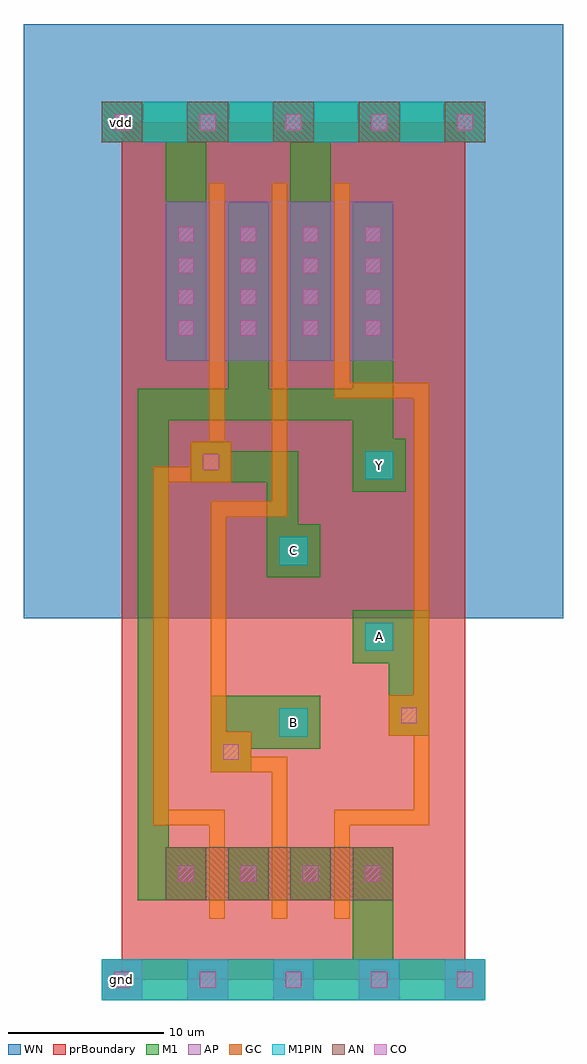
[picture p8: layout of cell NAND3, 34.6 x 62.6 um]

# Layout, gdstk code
import gdstk
lib = gdstk.Library(unit=1e-6, precision=1e-09)
def R(c, l, rs):  # rectangles x0, y0, x1, y1
    for r in rs: c.add(gdstk.rectangle(r[:2], r[2:], *l))
def A(c, l, x, y, w, h, nx, ny, dx, dy):  # array of equal rectangles
    R(c, l, [(x+i*dx, y+j*dy, x+i*dx+w, y+j*dy+h) for i in range(nx) for j in range(ny)])
def P(c, l, *ps):  # polygons
    for p in ps: c.add(gdstk.Polygon(p, *l))
AP = (3, 1)
AN = (3, 2)
GC = (8, 1)
CO = (11, 0)
M1 = (13, 0)
M1PIN = (48, 1)
WN = (140, 0)
prBoundary = (235, 0)

nand3 = lib.new_cell('NAND3')
A(nand3, AP, -1.3, -1.3, 2.6, 2.6, 5, 1, 5.5, 0)
R(nand3, AP, [(2.8,39.7,17.4,49.9), (2.8,39.7,17.4,49.9)])
A(nand3, AN, -1.3, 53.7, 2.6, 2.6, 5, 1, 5.5, 0)
R(nand3, AN, [(2.8,5.1,17.4,8.5)])
P(nand3, GC, [(5.6,3.9),(5.6,9.9),(2,9.9),(2,32.9),(4.4,32.9),(4.4,34.5),(5.6,34.5),(5.6,51.1),(6.6,51.1),(6.6,34.5),(7,34.5),(7,31.9),(3,31.9),(3,10.9),(6.6,10.9),(6.6,3.9)],
  [(9.6,3.9),(9.6,13.3),(5.7,13.3),(5.7,30.7),(9.6,30.7),(9.6,51.1),(10.6,51.1),(10.6,29.7),(6.7,29.7),(6.7,15.9),(8.3,15.9),(8.3,14.3),(10.6,14.3),(10.6,3.9)],
  [(13.6,3.9),(13.6,10.9),(18.7,10.9),(18.7,15.65),(17.1,15.65),(17.1,18.25),(18.7,18.25),(18.7,37.3),(13.6,37.3),(13.6,51.1),(14.6,51.1),(14.6,38.3),(19.7,38.3),(19.7,9.9),(14.6,9.9),(14.6,3.9)])
A(nand3, CO, -0.5, -0.5, 1, 1, 5, 2, 5.5, 55)
A(nand3, CO, 3.6, 41.3, 1, 1, 1, 4, 0, 2)
A(nand3, CO, 15.6, 41.3, 1, 1, 1, 4, 0, 2)
R(nand3, CO, [(3.6,6.3,4.6,7.3), (7.6,6.3,8.6,7.3), (7.6,6.3,8.6,7.3), (11.6,6.3,12.6,7.3), (11.6,6.3,12.6,7.3), (15.6,6.3,16.6,7.3), (6.5,14.1,7.5,15.1), (17.9,16.45,18.9,17.45), (5.2,32.7,6.2,33.7), (7.6,41.3,8.6,42.3), (7.6,41.3,8.6,42.3), (11.6,41.3,12.6,42.3), (11.6,41.3,12.6,42.3), (7.6,43.3,8.6,44.3), (7.6,43.3,8.6,44.3), (11.6,43.3,12.6,44.3), (11.6,43.3,12.6,44.3), (7.6,45.3,8.6,46.3), (7.6,45.3,8.6,46.3), (11.6,45.3,12.6,46.3), (11.6,45.3,12.6,46.3), (7.6,47.3,8.6,48.3), (7.6,47.3,8.6,48.3), (11.6,47.3,12.6,48.3), (11.6,47.3,12.6,48.3)])
R(nand3, M1, [(6.8,5.1,9.4,8.5), (10.8,5.1,13.4,8.5)])
P(nand3, M1, [(-1.3,-1.3),(-1.3,1.3),(14.8,1.3),(14.8,8.5),(17.4,8.5),(17.4,1.3),(23.3,1.3),(23.3,-1.3)],
  [(5.7,13.3),(5.7,18.2),(12.7,18.2),(12.7,14.8),(8.3,14.8),(8.3,13.3)],
  [(17.1,15.65),(17.1,20.3),(14.8,20.3),(14.8,23.7),(19.7,23.7),(19.7,15.65)],
  [(9.3,25.8),(9.3,31.9),(4.4,31.9),(4.4,34.5),(7,34.5),(7,33.9),(11.3,33.9),(11.3,29.2),(12.7,29.2),(12.7,25.8)],
  [(1,5.1),(1,37.9),(6.8,37.9),(6.8,49.9),(9.4,49.9),(9.4,37.9),(14.8,37.9),(14.8,49.9),(17.4,49.9),(17.4,34.7),(18.2,34.7),(18.2,31.3),(14.8,31.3),(14.8,35.9),(3,35.9),(3,8.5),(5.4,8.5),(5.4,5.1)],
  [(2.8,39.7),(2.8,53.7),(-1.3,53.7),(-1.3,56.3),(23.3,56.3),(23.3,53.7),(13.4,53.7),(13.4,39.7),(10.8,39.7),(10.8,53.7),(5.4,53.7),(5.4,39.7)])
R(nand3, M1PIN, [(-1.3,-1.3,23.3,1.3), (10.1,15.6,11.9,17.4), (15.6,21.1,17.4,22.9), (10.1,26.6,11.9,28.4), (15.6,32.1,17.4,33.9), (-1.3,53.7,23.3,56.3)])
R(nand3, WN, [(-6.3,23.2,28.3,61.3)])
R(nand3, prBoundary, [(0,0,22,55)])
nand3.add(gdstk.Label('vdd', (0,55), layer=48, texttype=0))
nand3.add(gdstk.Label('C', (11,27.5), layer=48, texttype=0))
nand3.add(gdstk.Label('A', (16.5,22), layer=48, texttype=0))
nand3.add(gdstk.Label('Y', (16.5,33), layer=48, texttype=0))
nand3.add(gdstk.Label('B', (11,16.5), layer=48, texttype=0))
nand3.add(gdstk.Label('gnd', (0,0), layer=48, texttype=0))

lib.write_gds('NAND3.gds')
